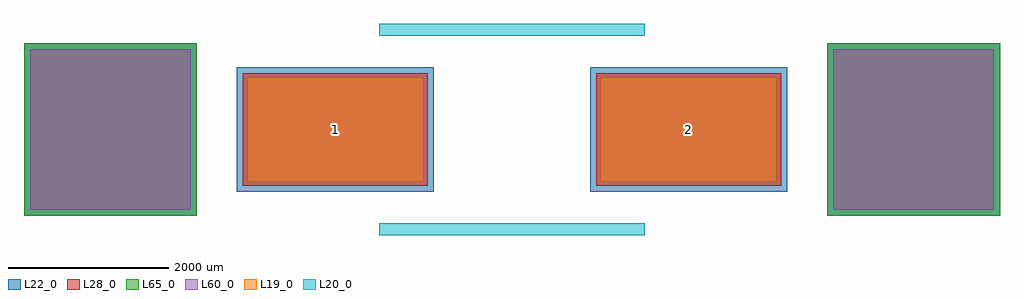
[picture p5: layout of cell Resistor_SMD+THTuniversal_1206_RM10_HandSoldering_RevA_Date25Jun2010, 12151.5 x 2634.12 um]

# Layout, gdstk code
import gdstk
lib = gdstk.Library(unit=1e-6, precision=1e-09)
def R(c, l, rs):  # rectangles x0, y0, x1, y1
    for r in rs: c.add(gdstk.rectangle(r[:2], r[2:], *l))
L19_0 = (19, 0)
L20_0 = (20, 0)
L22_0 = (22, 0)
L28_0 = (28, 0)
L60_0 = (60, 0)
L65_0 = (65, 0)

resistor_smd_thtuniversa = lib.new_cell('Resistor_SMD+THTuniversal_1206_RM10_HandSoldering_RevA_Date25Jun2010')
R(resistor_smd_thtuniversa, L19_0, [(-3300.26,-649.77,-1099.02,649.77), (1099.02,-649.77,3300.26,649.77)])
R(resistor_smd_thtuniversa, L22_0, [(-6075.75,-1074.49,-3926.77,1074.49), (3926.77,-1074.49,6075.75,1074.49), (-3425.26,-774.77,-974.02,774.77), (974.02,-774.77,3425.26,774.77)])
R(resistor_smd_thtuniversa, L28_0, [(-6000.75,-999.49,-4001.77,999.49), (4001.77,-999.49,6000.75,999.49), (-3350.26,-699.77,-1049.02,699.77), (1049.02,-699.77,3350.26,699.77)])
R(resistor_smd_thtuniversa, L60_0, [(-6000.75,-999.49,-4001.77,999.49), (4001.77,-999.49,6000.75,999.49)])
R(resistor_smd_thtuniversa, L65_0, [(-6075.75,-1074.49,-3926.77,1074.49), (3926.77,-1074.49,6075.75,1074.49)])
resistor_smd_thtuniversa.add(gdstk.FlexPath([(0,1242.06),(1651,1242.06)], 149.998, ends="flush", simple_path=True, layer=20, datatype=0))  # L20_0
resistor_smd_thtuniversa.add(gdstk.FlexPath([(0,1242.06),(-1651,1242.06)], 149.998, ends="flush", simple_path=True, layer=20, datatype=0))  # L20_0
resistor_smd_thtuniversa.add(gdstk.FlexPath([(1651,-1242.06),(-1651,-1242.06)], 149.998, ends="flush", simple_path=True, layer=20, datatype=0))  # L20_0
resistor_smd_thtuniversa.add(gdstk.Label('2', (2199.64,0), layer=28, texttype=0))
resistor_smd_thtuniversa.add(gdstk.Label('1', (-2199.64,0), layer=28, texttype=0))
resistor_smd_thtuniversa.add(gdstk.Label('type', (2700.02,-2700.02), layer=9, texttype=0))
resistor_smd_thtuniversa.add(gdstk.Label('devicename', (99.06,2400.3), layer=9, texttype=0))

lib.write_gds('Resistor_SMD_THTuniversal_1206_RM10_HandSoldering_RevA_Date25Jun2010.gds')
